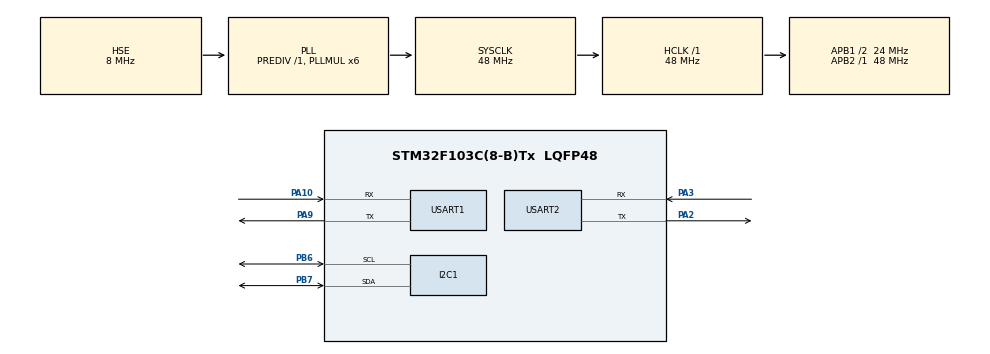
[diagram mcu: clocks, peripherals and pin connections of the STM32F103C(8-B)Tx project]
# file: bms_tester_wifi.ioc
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FREERTOS.Tasks01=defaultTask,24,128,StartDefaultTask,Default,NULL,Dynamic,NULL,NULL
FREERTOS.configUSE_NEWLIB_REENTRANT=1
I2C1.I2C_Mode=I2C_Fast
Mcu.Family=STM32F1
Mcu.Name=STM32F103C(8-B)Tx
Mcu.Package=LQFP48
NVIC.I2C1_EV_IRQn=true\:5\:0\:false\:false\:true\:true\:true\:true\:true
NVIC.PriorityGroup=NVIC_PRIORITYGROUP_4
NVIC.TIM2_IRQn=true\:15\:0\:false\:false\:true\:false\:false\:true\:true
NVIC.TimeBase=TIM2_IRQn
NVIC.TimeBaseIP=TIM2
NVIC.USART1_IRQn=true\:5\:0\:false\:false\:true\:true\:true\:true\:true
PA10.Mode=Asynchronous
PA10.Signal=USART1_RX
PA13.Mode=Serial_Wire
PA13.Signal=SYS_JTMS-SWDIO
PA14.Mode=Serial_Wire
PA14.Signal=SYS_JTCK-SWCLK
PA2.Mode=Asynchronous
PA2.Signal=USART2_TX
PA3.Mode=Asynchronous
PA3.Signal=USART2_RX
PA9.Mode=Asynchronous
PA9.Signal=USART1_TX
PB6.Mode=I2C
PB6.Signal=I2C1_SCL
PB7.Mode=I2C
PB7.Signal=I2C1_SDA
PD0-OSC_IN.Mode=HSE-External-Oscillator
PD0-OSC_IN.Signal=RCC_OSC_IN
PD1-OSC_OUT.Mode=HSE-External-Oscillator
PD1-OSC_OUT.Signal=RCC_OSC_OUT
ProjectManager.HeapSize=0x200
ProjectManager.StackSize=0x400
ProjectManager.TargetToolchain=STM32CubeIDE
RCC.AHBFreq_Value=48000000
RCC.APB1CLKDivider=RCC_HCLK_DIV2
RCC.APB1Freq_Value=24000000
RCC.APB1TimFreq_Value=48000000
RCC.APB2Freq_Value=48000000
RCC.APB2TimFreq_Value=48000000
RCC.EnbaleCSS=true
RCC.HCLKFreq_Value=48000000
RCC.PLLMUL=RCC_PLL_MUL6
RCC.PLLSourceVirtual=RCC_PLLSOURCE_HSE
RCC.SYSCLKFreq_VALUE=48000000
RCC.SYSCLKSource=RCC_SYSCLKSOURCE_PLLCLK
RCC.USBFreq_Value=48000000
USART1.VirtualMode=VM_ASYNC
USART2.VirtualMode=VM_ASYNC
VP_FREERTOS_VS_CMSIS_V2.Mode=CMSIS_V2
VP_SYS_VS_tim2.Mode=TIM2
board=custom

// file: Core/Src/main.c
/* USER CODE BEGIN Header */
/**
 ******************************************************************************
 * @file           : main.c
 * @brief          : Main program body
 ******************************************************************************
 * @attention
 *
 * Copyright (c) 2026 STMicroelectronics.
 * All rights reserved.
 *
 * This software is licensed under terms that can be found in the LICENSE file
 * in the root directory of this software component.
 * If no LICENSE file comes with this software, it is provided AS-IS.
 *
 ******************************************************************************
 */
/* USER CODE END Header */
#include "main.h"
#include "cmsis_os.h"
#include "i2c.h"
#include "usart.h"
#include "gpio.h"

/* USER CODE BEGIN Includes */
#include "FreeRTOS.h"
#include "task.h"
#include "ssd1306.h"
#include "my_config.h"
/* USER CODE END Includes */

/* USER CODE BEGIN PV */
// Переменные для работы с UART
extern TaskHandle_t countShowHandle;
// Массив структур
extern BmsData bmsData[];
// Размер буфера для приёма данных указываем максимального размера
uint8_t rxData[RX_BUFSIZE] = { 0, };
/* USER CODE END PV */

void SystemClock_Config(void);
void MX_FREERTOS_Init(void);
/* USER CODE BEGIN PFP */
void _processReceivedData(void);
void _displayAllData(void);
void _displayCounter(void);
/* USER CODE END PFP */

int main(void)
{

  /* MCU Configuration--------------------------------------------------------*/

  /* Reset of all peripherals, Initializes the Flash interface and the Systick. */
  HAL_Init();

  /* Configure the system clock */
  SystemClock_Config();

  /* Initialize all configured peripherals */
  MX_GPIO_Init();
  MX_I2C1_Init();
  MX_USART1_UART_Init();
  MX_USART2_UART_Init();
  /* USER CODE BEGIN 2 */
  // Инициализация дисплея
  ssd1306_Init();
  /* USER CODE END 2 */

  /* Init scheduler */
  osKernelInitialize();  /* Call init function for freertos objects (in cmsis_os2.c) */
  MX_FREERTOS_Init();

  /* Start scheduler */
  osKernelStart();

  /* We should never get here as control is now taken by the scheduler */

  /* Infinite loop */
  while (1) {

  }
}

void SystemClock_Config(void)
{
  RCC_OscInitTypeDef RCC_OscInitStruct = {0};
  RCC_ClkInitTypeDef RCC_ClkInitStruct = {0};

  /** Initializes the RCC Oscillators according to the specified parameters
  * in the RCC_OscInitTypeDef structure.
  */
  RCC_OscInitStruct.OscillatorType = RCC_OSCILLATORTYPE_HSE;
  RCC_OscInitStruct.HSEState = RCC_HSE_ON;
  RCC_OscInitStruct.HSEPredivValue = RCC_HSE_PREDIV_DIV1;
  RCC_OscInitStruct.HSIState = RCC_HSI_ON;
  RCC_OscInitStruct.PLL.PLLState = RCC_PLL_ON;
  RCC_OscInitStruct.PLL.PLLSource = RCC_PLLSOURCE_HSE;
  RCC_OscInitStruct.PLL.PLLMUL = RCC_PLL_MUL6;
  if (HAL_RCC_OscConfig(&RCC_OscInitStruct) != HAL_OK)
  {
    Error_Handler();
  }

  /** Initializes the CPU, AHB and APB buses clocks
  */
  RCC_ClkInitStruct.ClockType = RCC_CLOCKTYPE_HCLK|RCC_CLOCKTYPE_SYSCLK
                              |RCC_CLOCKTYPE_PCLK1|RCC_CLOCKTYPE_PCLK2;
  RCC_ClkInitStruct.SYSCLKSource = RCC_SYSCLKSOURCE_PLLCLK;
  RCC_ClkInitStruct.AHBCLKDivider = RCC_SYSCLK_DIV1;
  RCC_ClkInitStruct.APB1CLKDivider = RCC_HCLK_DIV2;
  RCC_ClkInitStruct.APB2CLKDivider = RCC_HCLK_DIV1;

  if (HAL_RCC_ClockConfig(&RCC_ClkInitStruct, FLASH_LATENCY_1) != HAL_OK)
  {
    Error_Handler();
  }

  /** Enables the Clock Security System
  */
  HAL_RCC_EnableCSS();
}

/* USER CODE BEGIN 4 */
void HAL_UART_RxCpltCallback(UART_HandleTypeDef *huart) {
  if (huart->Instance == USART1) {
    BaseType_t xHigherPriorityTaskWoken = pdFALSE;

    // Отправляем уведомление задаче
    vTaskNotifyGiveFromISR(countShowHandle, &xHigherPriorityTaskWoken);

    // Если задача taskBatMonitorHandle высокий приоритет, выполняем переключение контекста
    portYIELD_FROM_ISR(xHigherPriorityTaskWoken);
  }
}
/* USER CODE END 4 */

void HAL_TIM_PeriodElapsedCallback(TIM_HandleTypeDef *htim)
{
  if (htim->Instance == TIM2)
  {
    HAL_IncTick();
  }
}

void Error_Handler(void)
{
  __disable_irq();
  while (1) {
  }
}

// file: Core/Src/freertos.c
/* USER CODE BEGIN Header */
/**
 ******************************************************************************
 * File Name          : freertos.c
 * Description        : Code for freertos applications
 ******************************************************************************
 * @attention
 *
 * Copyright (c) 2025 STMicroelectronics.
 * All rights reserved.
 *
 * This software is licensed under terms that can be found in the LICENSE file
 * in the root directory of this software component.
 * If no LICENSE file comes with this software, it is provided AS-IS.
 *
 ******************************************************************************
 */
/* USER CODE END Header */

#include "FreeRTOS.h"
#include "task.h"
#include "main.h"
#include "cmsis_os.h"

/* USER CODE BEGIN Includes */
#include <stdio.h>
#include <stdbool.h>
#include <string.h>
#include "semphr.h"
#include "ssd1306.h"
#include "ssd1306_fonts.h"
#include "my_config.h"
/* USER CODE END Includes */

/* USER CODE BEGIN Variables */
// Дескрипторы задач
TaskHandle_t countShowHandle;
//TaskHandle_t dataShowHandle;
// Все ошибки складываем в одну переменную
bool isError = false;
// Позиция в структуре адресов запросов
size_t addrCount = 0;

extern UART_HandleTypeDef huart1;
extern UART_HandleTypeDef huart2;
// Массив структур
extern BmsData bmsData[];
// Количество элементов массива bmsData[]
extern const size_t bmsDataCount;
// Размер буфера для приёма данных указываем максимального размера
extern uint8_t rxData[RX_BUFSIZE];

// Флаг наличия соединения
bool isConnected = false;
// Счётчик времени ожидания ответа
uint8_t timeoutCounter = 0;
// Счётчик для фонового вывода чисел на экран
uint8_t countNum = 0;
bool countFlag = false;
char strCount[3] = { 0, };
// Первая позиция вывода символа на экран SSD1306
uint8_t x = 0;
uint8_t y = 0;

// Создаем результирующую строку для передачи по UART2
char result[100] = "";
/* USER CODE END Variables */
/* Definitions for defaultTask */
osThreadId_t defaultTaskHandle;
const osThreadAttr_t defaultTask_attributes = { .name = "defaultTask", .stack_size = 128 * 4, .priority = (osPriority_t) osPriorityNormal, };

/* USER CODE BEGIN FunctionPrototypes */
void vCountShow(void *argument);
//void vDataShow(void *argument);
void vTaskSystemReset(void *argument);
// Прототип функции обработки полученных данных
void _processReceivedData(void);
// Прототип функции отображения всех данных
void _displayAllData(void);
/* USER CODE END FunctionPrototypes */

void StartDefaultTask(void *argument);

void MX_FREERTOS_Init(void); /* (MISRA C 2004 rule 8.1) */

/* USER CODE BEGIN PREPOSTSLEEP */
__weak void PreSleepProcessing(uint32_t *ulExpectedIdleTime) {
  /* place for user code */
}

__weak void PostSleepProcessing(uint32_t *ulExpectedIdleTime) {
  /* place for user code */
}
/* USER CODE END PREPOSTSLEEP */

void MX_FREERTOS_Init(void) {

  /* Create the thread(s) */
  /* creation of defaultTask */
  defaultTaskHandle = osThreadNew(StartDefaultTask, NULL, &defaultTask_attributes);

  /* USER CODE BEGIN RTOS_THREADS */
  if (xTaskCreate(vCountShow, NULL, 128, NULL, osPriorityNormal, &countShowHandle) == pdFAIL) {
    isError = true;
  }
  /*  if (xTaskCreate(vDataShow, NULL, 128, NULL, osPriorityNormal, &dataShowHandle) == pdFAIL) {
   isError = true;
   }*/
  if (xTaskCreate(vTaskSystemReset, "taskSystemReset", 128, NULL, osPriorityHigh, NULL) == pdFAIL) {
    isError = true;
  }
  /* USER CODE END RTOS_THREADS */

}

void StartDefaultTask(void *argument) {
  /* USER CODE BEGIN StartDefaultTask */
  /* Infinite loop */
  for (;;) {
    vTaskDelete(NULL);
  }
  /* USER CODE END StartDefaultTask */
}

/* USER CODE BEGIN Application */
// С периодичностью в 1 секунду показываем на экране значение счётчика или данные BMS
void vCountShow(void *argument) {
  TickType_t lastWakeTime = xTaskGetTickCount();

  for (;;) {
    // Всегда сначала показываем счётчик (по умолчанию)
    strCount[0] = "0123456789ABCDEF"[countNum >> 4 & 0x0F];
    strCount[1] = "0123456789ABCDEF"[countNum & 0x0F];

    // Если нет соединения, показываем счётчик
    if (!isConnected) {
      x = (SSD1306_WIDTH - strlen(strCount) * Font_16x24.width) / 2;
      y = SSD1306_HEIGHT / 2 - Font_16x24.height / 2;
      ssd1306_SetCursor(x, y);
      ssd1306_Fill(Black);
      ssd1306_WriteString(strCount, Font_16x24, White);
      ssd1306_UpdateScreen();
      countNum++;
      if (!countFlag) {
        countFlag = true; // Началась итерация цифр
      }
    }

    addrCount = 0;
    // Начинаем цикл опроса всех данных
    HAL_UART_Receive_IT(&huart1, rxData, bmsData[addrCount].rxBufSize);
    HAL_UART_Transmit(&huart1, bmsData[addrCount].dataTx, TX_BUFSIZE, 10);

    // Ждём ответа с таймаутом
    timeoutCounter = 0;
    bool dataReceived = false;

    while (addrCount < bmsDataCount && timeoutCounter < 5) {
      // Ждём уведомление от прерывания с таймаутом
      if (ulTaskNotifyTake(pdTRUE, pdMS_TO_TICKS(200)) == pdTRUE) {
        // Данные получены успешно - соединение есть!
        dataReceived = true;
        isConnected = true;

        _processReceivedData();
        addrCount++;
        timeoutCounter = 0;

        if (addrCount < bmsDataCount) {
          // Отправляем следующий запрос
          HAL_UART_Receive_IT(&huart1, rxData, bmsData[addrCount].rxBufSize);
          HAL_UART_Transmit(&huart1, bmsData[addrCount].dataTx, TX_BUFSIZE, 10);
        }
      } else {
        // Таймаут - данных нет
        timeoutCounter++;
      }
    }

    // Анализируем результат опроса
    if (dataReceived) {
      if (addrCount == bmsDataCount) {
        // Все данные успешно получены - показываем их на экране
        _displayAllData();

        // ВАЖНО: Сбрасываем счётчик для следующего цикла
        addrCount = 0;

        // Соединение есть и данные получены
        isConnected = true;
      } else {
        // Получены не все данные - соединение нестабильное
        isConnected = false;
      }
    } else {
      // Нет ответа от BMS - соединения нет
      isConnected = false;
    }

    // Ждём ровно 1 секунду с учётом времени обработки
    vTaskDelayUntil(&lastWakeTime, pdMS_TO_TICKS(1000));
  }
}

// Программный сброс, в случае ошибок при инициализации задач
void vTaskSystemReset(void *argument) {
  for (;;) {
    if (isError) {
      // Запрещаем все маскируемые прерывания
      __disable_irq();
      __set_FAULTMASK(1);
      // Короткая задержка для стабилизации
      for (volatile int i = 0; i < 1000; i++)
        __NOP();
      // Выполняем сброс
      NVIC_SystemReset();
    } else {
      // Если ошибок нет, удаляем текущую задачу
      vTaskDelete(NULL);
    }
  }
}

// Функция обработки полученных данных
void _processReceivedData(void) {
  switch (bmsData[addrCount].addr) {
    case 0x10:
      // Серийный номер
      break;
    case 0x17:
      // Версия прошивки BMS
      uint16_t version = (rxData[8] << 8) | rxData[7];
      if (version == 0) {
        strcpy(bmsData[addrCount].strResult, "v 0.0.0.0");
      } else {
        bmsData[addrCount].strResult[0] = 'v';
        bmsData[addrCount].strResult[1] = ' ';

        uint8_t j = 2;
        bool first = true;

        for (int8_t i = 12; i >= 0; i -= 4) {
          if ((version >> i == 0) && first) {
            continue;
          } else {
            first = false;
          }
          bmsData[addrCount].strResult[j++] = "0123456789ABCDEF"[(version) >> i & 0x0F];
          bmsData[addrCount].strResult[j++] = '.';
        }
        bmsData[addrCount].strResult[--j] = '\0';
      }
      break;

    case 0x32:
      // Текущее значение остаточной мощности
      uint8_t power = rxData[7];
      snprintf(bmsData[addrCount].strResult, STR_SIZE, "%u %%", power);
      break;

    case 0x31:
      // Текущая остаточная емкость
      uint16_t capacity = (rxData[8] << 8) | rxData[7];
      snprintf(bmsData[addrCount].strResult, STR_SIZE, "%u mAh", capacity);
      break;

    case 0x34:
      // Текущее напряжение
      int16_t voltage = (rxData[8] << 8) | rxData[7];
      snprintf(bmsData[addrCount].strResult, STR_SIZE, "%d,%d V", voltage / 100, voltage % 100);
      break;

    case 0x60:
      // Вендор
      uint32_t code = (rxData[7] << 24) | (rxData[8] << 16) | (rxData[9] << 8) | rxData[10];
      strcpy(bmsData[addrCount].strResult, code_to_vendor(code));
      break;
  }
}

// Функция отображения всех данных
void _displayAllData(void) {
  bool needUpdate = false;
  // Если перед этим выводилась итерация, пропускаем проверку уникальности данных
  if (!countFlag) {
    // Сначала проверяем, были ли изменения
    for (uint8_t i = 0; i < bmsDataCount; i++) {
      if (strcmp(bmsData[i].strPrev, bmsData[i].strResult) != 0) {
        needUpdate = true;
        break;
      }
    }
    // Если изменений нет, выходим
    if (!needUpdate) {
      return;
    }
    countFlag = false;
  }
  // Есть изменения в данных, очищаем экран
  ssd1306_Fill(Black);

  for (uint8_t i = 0, y = 2; i < 5; i++, y += 13) {
    x = (SSD1306_WIDTH - strlen(bmsData[i].strResult) * Font_7x10.width) / 2;
    ssd1306_SetCursor(x, y);
    ssd1306_WriteString(bmsData[i].strResult, Font_7x10, White);
    // Сохраняем новое значение
    if (strcmp(bmsData[i].strPrev, bmsData[i].strResult) != 0) {
      strcpy(bmsData[i].strPrev, bmsData[i].strResult);
    }
  }
  ssd1306_UpdateScreen();

  // Собираем результирующую строку для передачи по UART2
  sprintf(result, "%s %s %s %s %s", bmsData[0].strResult, bmsData[1].strResult, bmsData[2].strResult, bmsData[3].strResult, bmsData[4].strResult);
  HAL_UART_Transmit(&huart2, (uint8_t*) result, strlen(result), 10);
}
/* USER CODE END Application */
